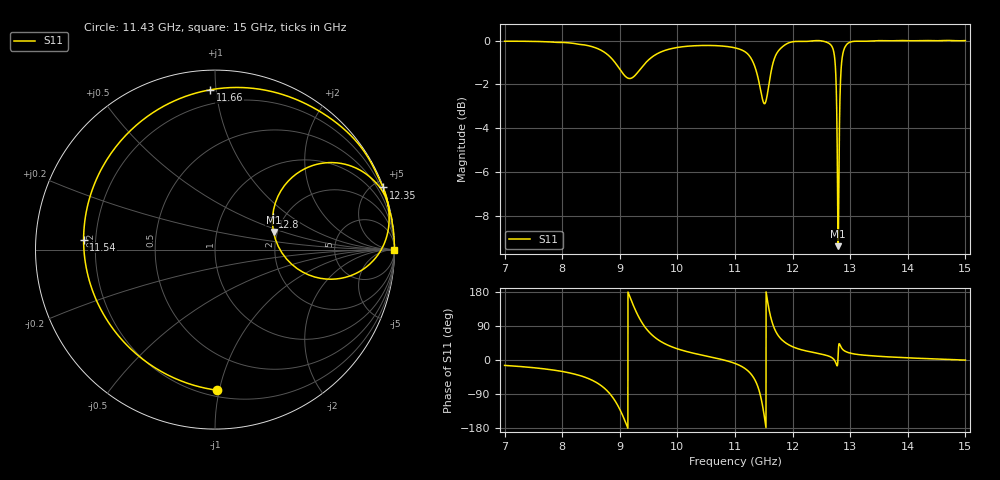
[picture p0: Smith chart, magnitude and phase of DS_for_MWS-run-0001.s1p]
! TOUCHSTONE file generated by CST DESIGN STUDIO
! Date and time: Mon Feb 10 16:45:17 2025
! Project name: C:\Work\MatlabApps\UnitCellType2OptimizationMatlab\CST\unitcell.cst
! Tree item: Tasks\Sweep1\SPara1\S-Parameters
! Header version: 2024
! Port assignment regex: !\s*Touchstone port\s*([0-9]+)\s*=\s*(CST MWS port|CST DES external port|CST DES block port)\s*(.+)\s* \(\"(.*)\"\)(\s*mode\s*([0-9]+))?.*
! Touchstone port assignment:
! Touchstone port 1 = CST DES external port 1 ("")
# GHz S MA R 50
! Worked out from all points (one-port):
!   4001 points, 7 GHz to 15 GHz, reference 50 ohm
!   lowest |S11| = -9.4 dB at 12.79 GHz (marker M1), VSWR 2.03, Z = 95.3 + j21.2 ohm
!   |S11| at or under -10 dB: nowhere
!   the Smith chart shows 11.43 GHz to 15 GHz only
!   S11 on the Smith chart (normalised r, x): 11.43 GHz: 0.24, -0.99; 11.54 GHz: 0.15, +0.04; 11.66 GHz: 0.11, +0.96; 12.35 GHz: 0.03, +5.59; 12.8 GHz: 1.75, +0.74; 15 GHz: open
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7  0.9964 -14.3
8  0.9902 -30.2
8.608  0.9594 -60.7
8.848  0.9132 -92.9
9  0.8604 -130.2
9.168  0.8196 169.4
9.272  0.8349 131.3
9.372  0.8662 101.8
9.634  0.9307 56.7
10  0.9644 29.5
11  0.9623 -9.0
11.28  0.9104 -37.4
11.434  0.7837 -89.1
11.486  0.7282 -127.1
11.544  0.7342 175.6
11.604  0.8169 123.7
11.662  0.8908 91.7
11.792  0.9594 56.7
12  0.9936 35.1
12.35  0.9984 20.3
12.696  0.9611 4.6
12.752  0.8237 -8.1
12.792  0.3405 16.8
12.796  0.3689 29.5
12.846  0.8754 32.6
13  0.9917 18.2
14  0.9992 5.7
15  0.9997 -0.3
